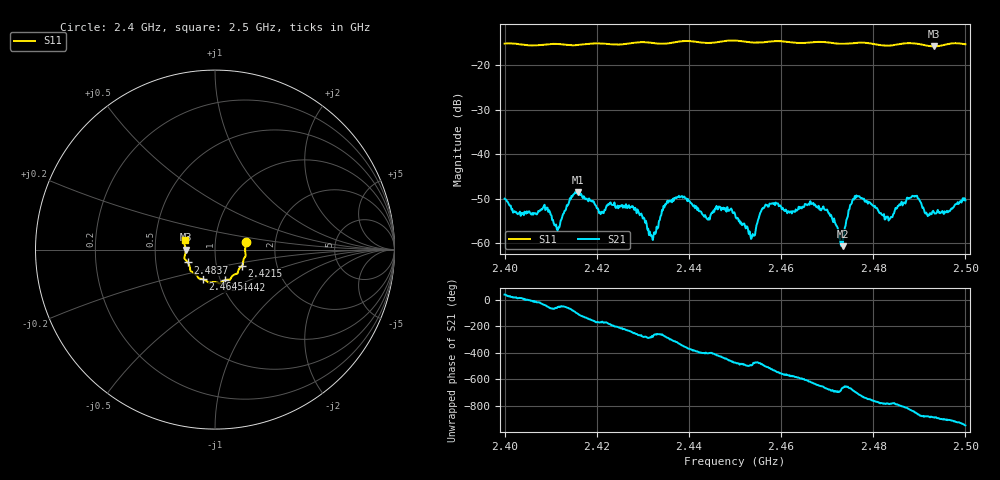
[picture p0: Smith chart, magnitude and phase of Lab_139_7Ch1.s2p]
# Hz S RI R 50
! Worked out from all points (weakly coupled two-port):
!   601 points, 2.4 GHz to 2.5 GHz, reference 50 ohm
!   highest |S21| = -48.52 dB at 2.416 GHz (marker M1); lowest = -60.7 dB at 2.4733 GHz (marker M2)
!   lowest |S11| = -15.7 dB at 2.4932 GHz (marker M3), VSWR 1.39, Z = 35.9 - j0.0485 ohm
!   |S11| at or under -10 dB: start of sweep to end of sweep
!   S12 and S22 are empty: the file has one direction only
!   S11 on the Smith chart (normalised r, x): 2.4 GHz: 1.41, +0.12; 2.4215 GHz: 1.33, -0.25; 2.4442 GHz: 1.05, -0.37; 2.4645 GHz: 0.83, -0.29; 2.4837 GHz: 0.73, -0.11; 2.5 GHz: 0.71, +0.07
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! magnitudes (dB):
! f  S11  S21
! 2.4 GHz  -15.1  -50.0
! 2.4088 GHz  -15.3  -52.6
! 2.4115 GHz  -15.2  -57.2
! 2.416 GHz  -15.4  -48.5
! 2.4167 GHz  -15.3  -49.1
! 2.4215 GHz  -15.1  -53.3
! 2.4318 GHz  -14.9  -58.3
! 2.4333 GHz  -15.1  -56.5
! 2.438 GHz  -14.6  -49.7
! 2.4442 GHz  -15.0  -54.8
! 2.45 GHz  -14.4  -53.5
! 2.4538 GHz  -14.8  -58.0
! 2.4565 GHz  -14.8  -51.7
! 2.4645 GHz  -15.0  -52.2
! 2.4667 GHz  -14.8  -51.2
! 2.4733 GHz  -15.2  -60.7
! 2.4765 GHz  -14.9  -49.5
! 2.4833 GHz  -15.6  -54.9
! 2.4837 GHz  -15.5  -54.5
! 2.489 GHz  -15.1  -49.6
! 2.4932 GHz  -15.7  -53.0
! 2.5 GHz  -15.2  -50.4
